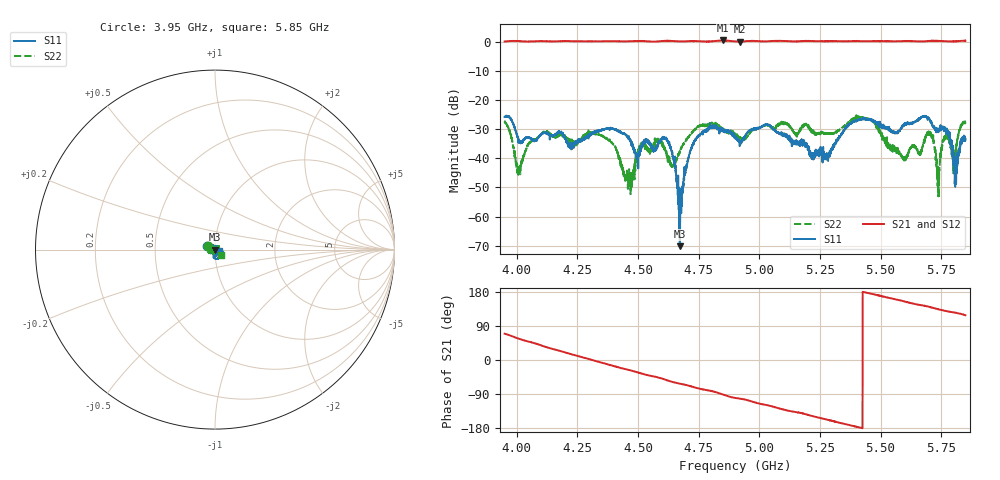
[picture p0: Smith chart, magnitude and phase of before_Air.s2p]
# GHZ S RI R 50.000000000000
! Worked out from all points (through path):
!   4501 points, 3.95 GHz to 5.85 GHz, reference 50 ohm
!   highest |S21| = 0.40 dB at 4.851 GHz (marker M1); lowest = 0.0 dB at 4.919 GHz (marker M2)
!   group delay of S21, straight-line fit = 448 ps
!   lowest |S11| = -70.1 dB at 4.672 GHz (marker M3), VSWR 1.00, Z = 50 + j0.00551 ohm
!   |S11| at or under -10 dB: start of sweep to end of sweep
!   |S22| runs from -53.1 to -25.2 dB; largest |S21 - S12| = 0.033
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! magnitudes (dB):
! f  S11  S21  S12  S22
! 3.95 GHz  -25.8  0.0  0.0  -27.8
! 4.008 GHz  -33.7  0.2  0.3  -44.1
! 4.113 GHz  -31.3  0.2  0.1  -30.9
! 4.267 GHz  -33.7  0.1  0.1  -33.6
! 4.385 GHz  -29.7  0.1  0.2  -34.1
! 4.466 GHz  -33.6  0.1  0.2  -48.2
! 4.584 GHz  -35.0  0.1  0.1  -33.9
! 4.633 GHz  -36.3  0.3  0.2  -42.3
! 4.672 GHz  -70.1  0.1  0.1  -37.9
! 4.736 GHz  -33.5  0.2  0.2  -29.9
! 4.851 GHz  -31.0  0.4  0.4  -30.1
! 4.9 GHz  -32.4  0.1  0.1  -31.3
! 4.919 GHz  -34.3  0.0  0.0  -32.8
! 5.036 GHz  -28.4  0.1  0.1  -28.6
! 5.217 GHz  -39.0  0.2  0.3  -30.5
! 5.419 GHz  -26.7  0.2  0.2  -26.2
! 5.534 GHz  -30.3  0.2  0.2  -36.5
! 5.701 GHz  -26.7  0.2  0.3  -31.4
! 5.738 GHz  -30.8  0.2  0.3  -47.1
! 5.766 GHz  -29.6  0.1  0.1  -32.9
! 5.809 GHz  -47.2  0.1  0.1  -37.5
! 5.85 GHz  -33.4  0.3  0.3  -27.7
